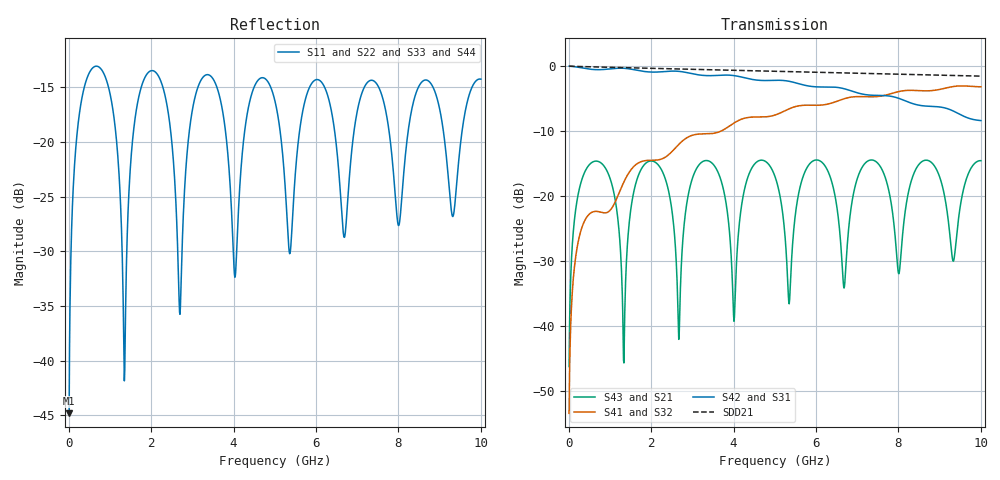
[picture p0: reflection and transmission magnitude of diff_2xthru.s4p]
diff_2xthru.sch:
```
<Qucs Schematic 0.0.19>
<Properties>
  <View=0,-60,1406,800,0.751315,0,0>
  <Grid=10,10,1>
  <DataSet=diff_2xthru.dat>
  <DataDisplay=diff_2xthru.dpl>
  <OpenDisplay=1>
  <Script=diff_2xthru.m>
  <RunScript=0>
  <showFrame=0>
  <FrameText0=Titre>
  <FrameText1=Auteur :>
  <FrameText2=Date :>
  <FrameText3=Version :>
</Properties>
<Symbol>
</Symbol>
<Components>
  <Pac P2 1 240 310 18 -26 0 1 "2" 1 "50 Ohm" 1 "0 dBm" 0 "1 GHz" 0 "26.85" 0>
  <GND * 1 240 340 0 0 0 0>
  <Pac P1 1 240 170 18 -26 0 1 "1" 1 "50 Ohm" 1 "0 dBm" 0 "1 GHz" 0 "26.85" 0>
  <GND * 1 240 200 0 0 0 0>
  <Pac P4 1 720 310 18 -26 0 1 "4" 1 "50 Ohm" 1 "0 dBm" 0 "1 GHz" 0 "26.85" 0>
  <GND * 1 720 340 0 0 0 0>
  <GND * 1 720 200 0 0 0 0>
  <.SP SP1 1 240 490 0 65 0 0 "lin" 1 "10 MHz" 1 "10 GHz" 1 "1000" 1 "no" 0 "1" 0 "2" 0 "no" 0 "no" 0>
  <SUBST Subst1 1 510 530 -30 24 0 0 "4.413" 1 "1.51 mm" 1 "50 um" 1 "0.0182" 1 "1.712e-8" 1 "0.15e-6" 1>
  <MCOUPLED MS1 1 490 210 -30 88 0 0 "Subst1" 1 "1.76 mm" 1 "60 mm" 1 "1 mm" 1 "Kirschning" 1 "Kirschning" 1 "26.85" 0>
  <Eqn Eqn1 1 670 510 -30 16 0 0 "S11_dB=dB(S[1,1])" 1 "S41_dB=dB(S[4,1])" 1 "yes" 0>
  <Pac P3 1 720 170 18 -26 0 1 "3" 1 "50 Ohm" 1 "0 dBm" 0 "1 GHz" 0 "26.85" 0>
</Components>
<Wires>
  <240 140 460 140 "" 0 0 0 "">
  <460 140 460 180 "" 0 0 0 "">
  <520 140 520 180 "" 0 0 0 "">
  <520 140 720 140 "" 0 0 0 "">
  <460 240 460 280 "" 0 0 0 "">
  <240 280 460 280 "" 0 0 0 "">
  <520 240 520 280 "" 0 0 0 "">
  <520 280 720 280 "" 0 0 0 "">
</Wires>
<Diagrams>
</Diagrams>
<Paintings>
</Paintings>
```
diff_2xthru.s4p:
# HZ S RI R 50
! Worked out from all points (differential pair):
!   1000 points, 10 MHz to 10 GHz, reference 50 ohm
!   strongest paths, dB at 10 MHz, 2.51 GHz, 5.01 GHz, 7.51 GHz, 10 GHz:
!     S42: 0.0, -0.8, -2.2, -4.5, -8.4
!     S31: 0.0, -0.8, -2.2, -4.5, -8.4
!     S41: -53.5, -13.1, -7.5, -4.7, -3.2
!     S32: -53.5, -13.1, -7.5, -4.7, -3.2
!     S43: -46.3, -22.5, -17.1, -15.0, -14.6
!     S21: -46.3, -22.5, -17.1, -15.0, -14.6
!   taken as a pair (ports 2,1 in; 4,3 out), SDD21 dB: 0.0, -0.4, -0.8, -1.2, -1.5
!   lowest |S11| = -44.8 dB at 10 MHz (marker M1), VSWR 1.01, Z = 50 + j0.574 ohm
!   |S11| at or under -10 dB: start of sweep to end of sweep
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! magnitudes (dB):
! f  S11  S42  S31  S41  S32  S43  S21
! 10 MHz  -44.8  0.0  0.0  -53.5  -53.5  -46.3  -46.3
! 1.65 GHz  -16.9  -0.6  -0.6  -15.1  -15.1  -17.6  -17.6
! 10 GHz  -14.2  -8.4  -8.4  -3.2  -3.2  -14.6  -14.6
